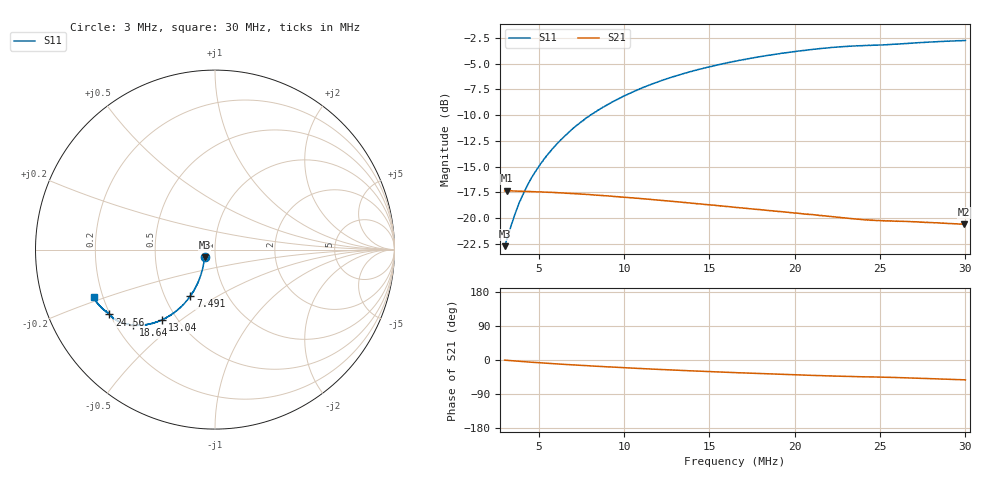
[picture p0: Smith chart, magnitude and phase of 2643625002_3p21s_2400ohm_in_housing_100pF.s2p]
# HZ S RI R 50
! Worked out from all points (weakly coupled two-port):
!   1023 points, 3 MHz to 30 MHz, reference 50 ohm
!   highest |S21| = -17.33 dB at 3.159 MHz (marker M1); lowest = -20.6 dB at 29.89 MHz (marker M2)
!   lowest |S11| = -22.7 dB at 3 MHz (marker M3), VSWR 1.16, Z = 44.3 - j3.91 ohm
!   |S11| at or under -10 dB: start of sweep to 8.032 MHz
!   S12 and S22 are empty: the file has one direction only
!   S11 on the Smith chart (normalised r, x): 3 MHz: 0.89, -0.08; 7.491 MHz: 0.67, -0.38; 13.04 MHz: 0.42, -0.43; 18.64 MHz: 0.27, -0.37; 24.56 MHz: 0.20, -0.27; 30 MHz: 0.16, -0.19
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3000000  -0.0585 -0.0439  0.1355 -0.000798  0 0  0 0
3158514  -0.0592 -0.054  0.1359 -0.00224  0 0  0 0
3607637  -0.0645 -0.0826  0.1353 -0.00599  0 0  0 0
3871827  -0.0672 -0.0983  0.1348 -0.00816  0 0  0 0
4294531  -0.0734 -0.122  0.1342 -0.0118  0 0  0 0
4770073  -0.081 -0.1456  0.1334 -0.0149  0 0  0 0
5404129  -0.0921 -0.1752  0.1323 -0.0195  0 0  0 0
6064604  -0.1042 -0.2039  0.1306 -0.0238  0 0  0 0
7491230  -0.1375 -0.2591  0.1268 -0.0322  0 0  0 0
7517649  -0.1376 -0.2592  0.1267 -0.0322  0 0  0 0
9551912  -0.1933 -0.3219  0.1198 -0.042  0 0  0 0
1.200888e7  -0.2654 -0.3742  0.111 -0.0511  0 0  0 0
1.303922e7  -0.2951 -0.3909  0.1073 -0.0541  0 0  0 0
1.650011e7  -0.3956 -0.4194  0.0945 -0.062  0 0  0 0
1.864005e7  -0.4551 -0.4208  0.0869 -0.0651  0 0  0 0
2.101776e7  -0.5151 -0.4088  0.0791 -0.0676  0 0  0 0
2.286709e7  -0.5586 -0.3871  0.0732 -0.0687  0 0  0 0
2.45579e7  -0.5887 -0.3613  0.0694 -0.069  0 0  0 0
2.550899e7  -0.6001 -0.3498  0.0677 -0.0694  0 0  0 0
2.764893e7  -0.6365 -0.319  0.063 -0.0716  0 0  0 0
2.989454e7  -0.6755 -0.268  0.0572 -0.0736  0 0  0 0
3.000022e7  -0.6769 -0.2667  0.0568 -0.0742  0 0  0 0
